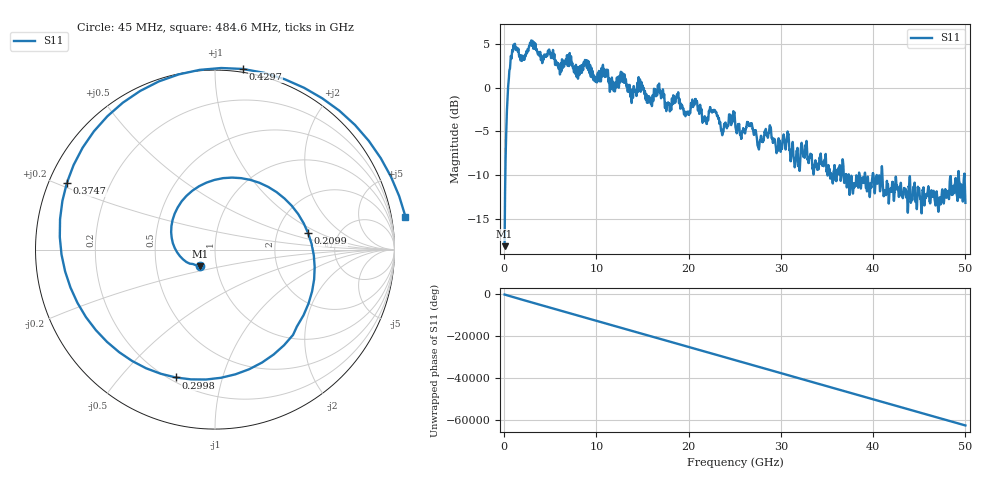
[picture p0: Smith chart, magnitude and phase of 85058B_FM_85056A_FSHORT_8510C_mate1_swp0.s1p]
!Created with skrf (http://scikit-rf.org).
# Hz S RI R 50.0
!freq ReS11 ImS11
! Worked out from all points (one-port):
!   10001 points, 45 MHz to 50 GHz, reference 50 ohm
!   lowest |S11| = -18.2 dB at 45 MHz (marker M1), VSWR 1.28, Z = 41.8 - j7.87 ohm
!   |S11| at or under -10 dB: 37.36 GHz to 38.45 GHz (1.095 GHz wide, 2.89 % of centre); 40.04 GHz to 40.9 GHz (859.4 MHz wide, 2.12 % of centre); 41 GHz to 49.23 GHz (8.238 GHz wide, 18.3 % of centre) (the widest 3 of 15)
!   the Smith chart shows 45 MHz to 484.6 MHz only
!   S11 on the Smith chart (normalised r, x): 45 MHz: 0.84, -0.16; 209.9 MHz: 3.02, +0.76; 299.8 MHz: 0.22, -0.71; 374.7 MHz: 0.05, +0.21; 429.7 MHz: -0.02, +1.17; 484.6 MHz: -4, +10
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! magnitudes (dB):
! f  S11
! 45 MHz  -18.2
! 209.9 MHz  -5.6
! 299.8 MHz  -2.6
! 374.7 MHz  -0.9
! 429.7 MHz  0.2
! 484.6 MHz  0.6
! 794.3 MHz  3.4
! 1.174 GHz  5.0
! 1.978 GHz  3.7
! 3.022 GHz  4.8
! 6.289 GHz  3.0
! 12.53 GHz  1.0
! 15.82 GHz  -1.1
! 18.78 GHz  -1.0
! 19.72 GHz  -2.8
! 20.74 GHz  -1.3
! 21.72 GHz  -3.3
! 22.8 GHz  -2.7
! 23.58 GHz  -4.9
! 25.02 GHz  -3.8
! 26.65 GHz  -4.4
! 27.6 GHz  -7.0
! 30.63 GHz  -6.1
! 31.27 GHz  -6.2
! 32.57 GHz  -8.0
! 37.51 GHz  -11.1
! 43.76 GHz  -14.3
! 50 GHz  -13.2
